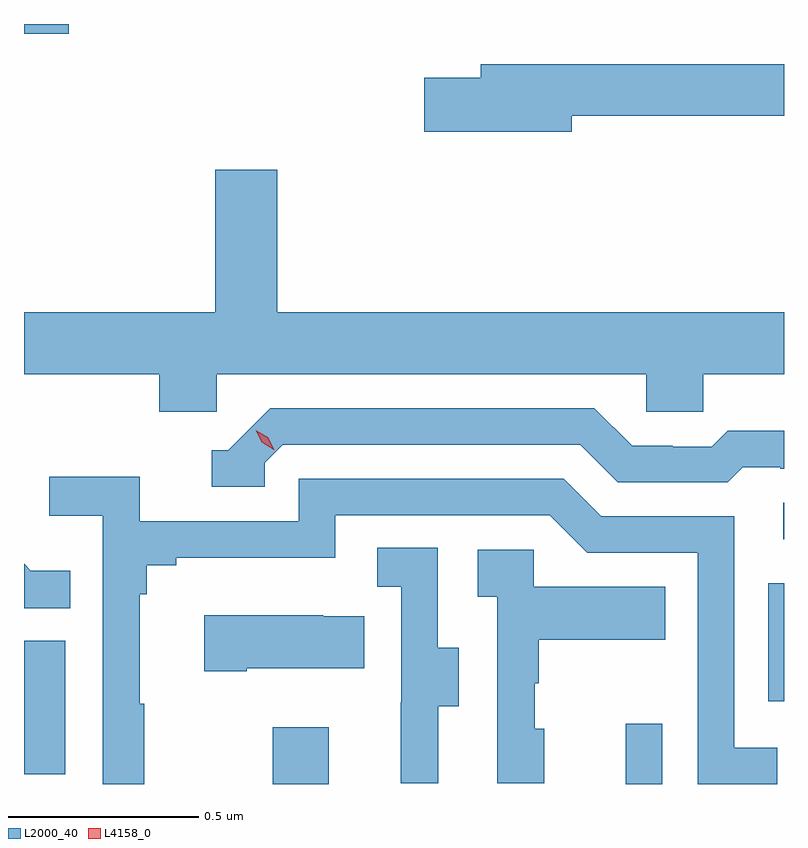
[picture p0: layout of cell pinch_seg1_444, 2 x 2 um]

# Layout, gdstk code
import gdstk
lib = gdstk.Library(unit=1e-6, precision=1e-09)
def R(c, l, rs):  # rectangles x0, y0, x1, y1
    for r in rs: c.add(gdstk.rectangle(r[:2], r[2:], *l))
def P(c, l, *ps):  # polygons
    for p in ps: c.add(gdstk.Polygon(p, *l))
L2000_40 = (2000, 40)
L4158_0 = (4158, 0)

pinch_seg1_444 = lib.new_cell('pinch_seg1_444')
R(pinch_seg1_444, L2000_40, [(932.392,521.35,932.539,521.5), (933.32,521.35,933.417,521.509), (931.737,521.376,931.846,521.727), (933.696,521.568,933.737,521.878), (933.735,521.994,933.737,522.09), (931.737,523.325,931.855,523.35)])
P(pinch_seg1_444, L2000_40, [(933.178,523.108),(933.737,523.108),(933.737,523.244),(932.939,523.244),(932.939,523.208),(932.79,523.208),(932.79,523.066),(933.178,523.066)],
  [(931.737,522.428),(932.093,522.428),(932.093,522.33),(932.244,522.33),(932.244,522.428),(933.375,522.428),(933.375,522.33),(933.525,522.33),(933.525,522.428),(933.737,522.428),(933.737,522.592),(932.404,522.592),(932.404,522.967),(932.24,522.967),(932.24,522.592),(931.737,522.592)],
  [(932.37,522.195),(932.418,522.243),(933.201,522.243),(933.3,522.144),(933.589,522.144),(933.628,522.183),(933.727,522.183),(933.727,522.18),(933.737,522.18),(933.737,522.28),(933.589,522.28),(933.547,522.237),(933.444,522.237),(933.444,522.24),(933.337,522.24),(933.238,522.339),(932.385,522.339),(932.274,522.228),(932.231,522.228),(932.231,522.132),(932.37,522.132)],
  [(932.053,521.561),(932.041,521.561),(932.041,521.849),(932.06,521.849),(932.06,521.926),(932.137,521.926),(932.137,521.945),(932.556,521.945),(932.556,522.057),(933.12,522.057),(933.219,521.958),(933.51,521.958),(933.51,521.35),(933.719,521.35),(933.719,521.445),(933.606,521.445),(933.606,522.054),(933.256,522.054),(933.157,522.153),(932.46,522.153),(932.46,522.042),(932.042,522.042),(932.042,522.158),(931.803,522.158),(931.803,522.056),(931.944,522.056),(931.944,521.35),(932.053,521.35)],
  [(932.827,521.554),(932.881,521.554),(932.881,521.709),(932.826,521.709),(932.826,521.972),(932.667,521.972),(932.667,521.869),(932.73,521.869),(932.73,521.565),(932.729,521.565),(932.729,521.352),(932.827,521.352)],
  [(933.106,521.496),(933.081,521.496),(933.081,521.615),(933.091,521.615),(933.091,521.729),(933.425,521.729),(933.425,521.869),(933.078,521.869),(933.078,521.967),(932.931,521.967),(932.931,521.843),(932.982,521.843),(932.982,521.352),(933.106,521.352)],
  [(931.859,521.911),(931.755,521.911),(931.737,521.929),(931.737,521.812),(931.859,521.812)],
  [(932.323,521.654),(932.633,521.654),(932.633,521.791),(932.525,521.791),(932.525,521.794),(932.211,521.794),(932.211,521.647),(932.323,521.647)])
P(pinch_seg1_444, L4158_0, [(932.394,522.23),(932.363,522.249),(932.347,522.281),(932.347,522.281),(932.347,522.281),(932.378,522.262),(932.395,522.23),(932.395,522.23)])

lib.write_gds('pinch_seg1_444.gds')
